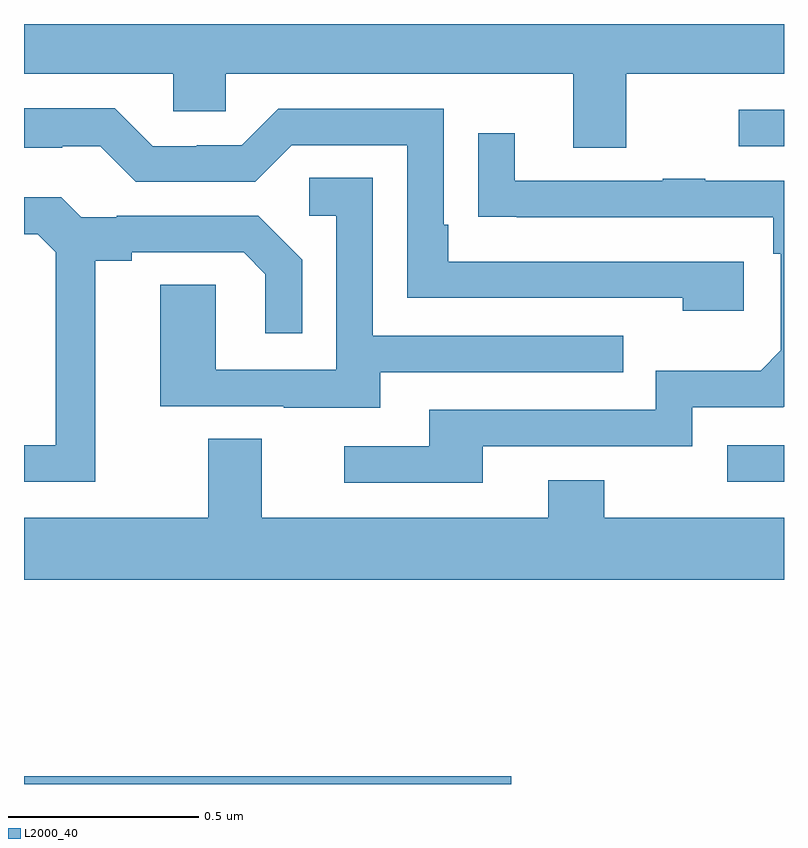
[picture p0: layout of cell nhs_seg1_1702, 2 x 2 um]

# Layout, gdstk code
import gdstk
lib = gdstk.Library(unit=1e-6, precision=1e-09)
def R(c, l, rs):  # rectangles x0, y0, x1, y1
    for r in rs: c.add(gdstk.rectangle(r[:2], r[2:], *l))
def P(c, l, *ps):  # polygons
    for p in ps: c.add(gdstk.Polygon(p, *l))
L2000_40 = (2000, 40)

nhs_seg1_1702 = lib.new_cell('nhs_seg1_1702')
R(nhs_seg1_1702, L2000_40, [(132,547.199,133.282,547.22), (133.851,547.995,134,548.091), (133.881,548.877,134,548.973)])
P(nhs_seg1_1702, L2000_40, [(133.585,549.068),(134,549.068),(134,549.199),(132,549.199),(132,549.068),(132.393,549.068),(132.393,548.97),(132.531,548.97),(132.531,549.068),(133.445,549.068),(133.445,548.874),(133.585,548.874)],
  [(133.894,548.574),(133.117,548.574),(133.117,548.671),(133.104,548.671),(133.104,548.976),(132.669,548.976),(132.573,548.88),(132.455,548.88),(132.455,548.877),(132.339,548.877),(132.239,548.977),(132,548.977),(132,548.873),(132.101,548.873),(132.101,548.877),(132.201,548.877),(132.294,548.784),(132.609,548.784),(132.705,548.88),(133.008,548.88),(133.008,548.478),(133.733,548.478),(133.733,548.444),(133.894,548.444)],
  [(133.207,548.088),(133.758,548.088),(133.758,548.19),(133.998,548.19),(134,548.192),(134,548.787),(133.793,548.787),(133.793,548.792),(133.681,548.792),(133.681,548.787),(133.291,548.787),(133.291,548.911),(133.195,548.911),(133.195,548.692),(133.297,548.692),(133.297,548.691),(133.972,548.691),(133.972,548.594),(133.992,548.594),(133.992,548.34),(133.939,548.287),(133.662,548.287),(133.662,548.184),(133.067,548.184),(133.067,548.088),(132.843,548.088),(132.843,547.992),(133.207,547.992)],
  [(132.937,548.283),(133.577,548.283),(133.577,548.379),(132.918,548.379),(132.918,548.795),(132.75,548.795),(132.75,548.694),(132.822,548.694),(132.822,548.289),(132.504,548.289),(132.504,548.513),(132.359,548.513),(132.359,548.193),(132.683,548.193),(132.683,548.189),(132.937,548.189)],
  [(132.187,548.576),(132.283,548.576),(132.283,548.598),(132.578,548.598),(132.635,548.541),(132.635,548.385),(132.732,548.385),(132.732,548.578),(132.616,548.694),(132.244,548.694),(132.244,548.691),(132.15,548.691),(132.098,548.743),(132,548.743),(132,548.646),(132.036,548.646),(132.083,548.599),(132.083,548.091),(132,548.091),(132,547.995),(132.187,547.995)],
  [(134,547.9),(133.527,547.9),(133.527,547.999),(133.379,547.999),(133.379,547.9),(132.625,547.9),(132.625,548.108),(132.485,548.108),(132.485,547.9),(132,547.9),(132,547.736),(134,547.736)])

lib.write_gds('nhs_seg1_1702.gds')
